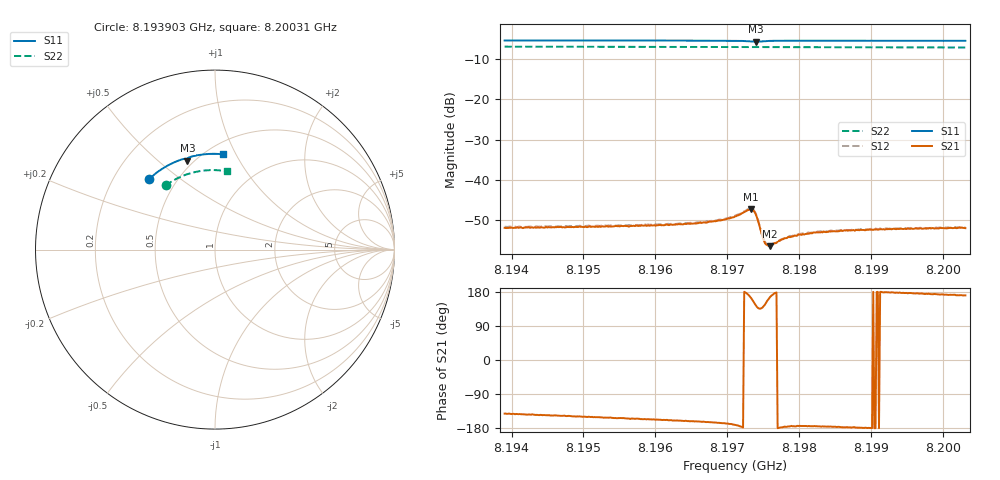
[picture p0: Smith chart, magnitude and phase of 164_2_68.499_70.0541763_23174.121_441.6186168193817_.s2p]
#  HZ  S  RI  R  50.00
! Rohde & Schwarz Vector Network Analyzer
! Rohde-Schwarz,ZNB20-2Port,1311601062101988,3.16
! Created: UTC 3/20/2024, 5:11:03 PM
! freq[Hz]  re:S11  im:S11  re:S21  im:S21  re:S12  im:S12  re:S22  im:S22
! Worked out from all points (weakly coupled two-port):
!   401 points, 8.193903 GHz to 8.20031 GHz, reference 50 ohm
!   highest |S21| = -47.26 dB at 8.197331 GHz (marker M1); lowest = -56.4 dB at 8.197587 GHz (marker M2)
!   lowest |S11| = -5.7 dB at 8.197395 GHz (marker M3), VSWR 3.16, Z = 23.2 + j31.4 ohm
!   |S11| at or under -10 dB: nowhere
!   |S22| runs from -7.1 to -6.9 dB; largest |S21 - S12| = 0.00024
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8.1939033e9  -0.369 0.3924  -0.00199 -0.00159  -0.00211 -0.00158  -0.2756 0.3574
8.1949765e9  -0.3099 0.4397  -0.00226 -0.00133  -0.00237 -0.00128  -0.2248 0.3895
8.1960497e9  -0.2442 0.4781  -0.00256 -0.00105  -0.00266 -0.000993  -0.1699 0.4146
8.1967064e9  -0.2007 0.4969  -0.00284 -0.000823  -0.003 -0.000743  -0.1351 0.4262
8.1969947e9  -0.1797 0.5038  -0.00323 -0.000696  -0.00331 -0.000572  -0.1192 0.4303
8.1971068e9  -0.1707 0.5056  -0.00351 -0.00054  -0.00359 -0.000443  -0.1129 0.4318
8.197283e9  -0.1543 0.5038  -0.00421 0.000477  -0.0043 0.000631  -0.1032 0.4337
8.1973311e9  -0.1513 0.5002  -0.00416 0.00122  -0.00419 0.00146  -0.1006 0.4341
8.1973631e9  -0.1514 0.4973  -0.00376 0.00181  -0.00379 0.00205  -0.0989 0.4343
8.1973951e9  -0.1535 0.4956  -0.00308 0.00217  -0.00305 0.00236  -0.0972 0.4347
8.1974272e9  -0.1561 0.4965  -0.00229 0.00211  -0.00225 0.00225  -0.0956 0.435
8.1974752e9  -0.1573 0.501  -0.00159 0.00149  -0.00154 0.00157  -0.0929 0.4356
8.1975073e9  -0.1563 0.5042  -0.00142 0.00108  -0.00142 0.00118  -0.0913 0.436
8.1975233e9  -0.1553 0.5055  -0.00136 0.000918  -0.00139 0.00102  -0.0903 0.4362
8.1975553e9  -0.1531 0.5081  -0.00143 0.000625  -0.00144 0.000696  -0.0885 0.4367
8.1975874e9  -0.1506 0.51  -0.00146 0.000406  -0.00147 0.000465  -0.0867 0.437
8.1978436e9  -0.1307 0.5184  -0.00196 -0.000162  -0.00195 -7.14e-05  -0.0723 0.4391
8.1980198e9  -0.1175 0.5218  -0.00209 -0.000215  -0.00215 -0.000149  -0.0624 0.4405
8.19818e9  -0.1059 0.5242  -0.00218 -0.000198  -0.00222 -0.000144  -0.0533 0.4413
8.1986445e9  -0.0727 0.5296  -0.00235 -9.41e-05  -0.0024 -1.55e-05  -0.027 0.4428
8.1992532e9  -0.0295 0.5332  -0.00246 7.7e-05  -0.0025 0.000175  0.00752 0.4425
8.2003104e9  0.0452 0.5309  -0.0025 0.000419  -0.00253 0.000536  0.0672 0.4353
